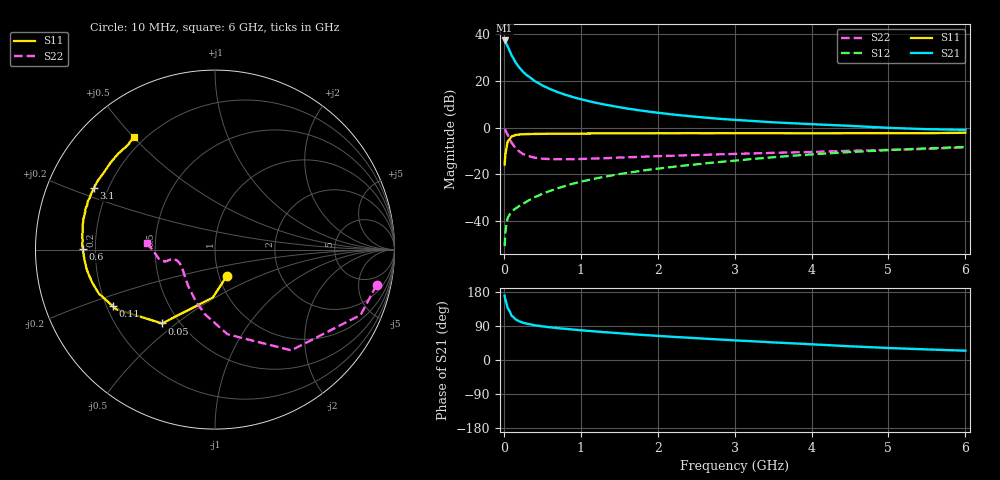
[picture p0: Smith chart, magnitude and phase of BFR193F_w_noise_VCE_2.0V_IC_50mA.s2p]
! Infineon Technologies  Discrete & RF Semiconductors
! BFR193F
! VCE =  2.0 V,  IC =  50 mA
! Common Emitter S-Parameters:  Jan 2017
# GHz  S  MA  R  50
!  f  S11  S21  S12  S22
! GHz  MAG  ANG  MAG  ANG  MAG  ANG  MAG  ANG
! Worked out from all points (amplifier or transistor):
!   77 points, 10 MHz to 6 GHz, reference 50 ohm
!   highest |S21| = 37.2 dB at 10 MHz (marker M1)
!   |S21| within 3 dB of that: start of sweep to 56.59 MHz
!   unconditionally stable (mu >= 1): 727.4 MHz to 2.682 GHz
!   at 130 MHz: K = 0.53, MSG = 32.2 dB, |S12| = -35.2 dB
!   at 2.2 GHz: K = 1.02, MAG = 10.3 dB, |S12| = -16.8 dB
!   at 6 GHz: K = 0.89, MSG = 3.7 dB, |S12| = -8.3 dB
!   lowest NFmin = 1.48 dB at 450 MHz
!   S11 on the Smith chart (normalised r, x): 10 MHz: 1.08, -0.33; 50 MHz: 0.40, -0.45; 110 MHz: 0.22, -0.25; 600 MHz: 0.15, +0.00; 3.1 GHz: 0.15, +0.23; 6 GHz: 0.16, +0.50
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0.01  0.1625 -66.6  72.83 169.7  0.0029 81.9  0.9219 -12.3
0.02  0.267 -92.6  69.3 159.3  0.0057 76.5  0.8889 -24.2
0.05  0.5061 -125.6  54.36 136.5  0.0116 59.5  0.7038 -52.9
0.1  0.6427 -148.9  35.16 116.8  0.0158 51.2  0.4766 -81.6
0.11  0.6508 -151.1  33.09 115.4  0.0163 51.4  0.4516 -84.3
0.15  0.6921 -159.3  25.08 107.6  0.0184 52.2  0.3653 -98.7
0.2  0.7084 -165.0  19.27 102.0  0.0209 53.4  0.3078 -110.2
0.25  0.7178 -169.0  15.59 98.4  0.0234 56.4  0.2706 -119.6
0.3  0.7237 -171.5  13.1 95.8  0.0263 60.5  0.2516 -126.5
0.4  0.7294 -175.6  9.895 91.6  0.0323 63.6  0.227 -137.1
0.5  0.7329 -178.2  7.959 88.8  0.038 66.3  0.2157 -144.2
0.6  0.7367 179.8  6.663 86.3  0.0441 69.1  0.2113 -149.7
0.7  0.7403 177.7  5.722 84.1  0.0502 69.8  0.2098 -153.2
0.8  0.7392 176.3  5.012 82.3  0.0565 71.2  0.21 -156.6
0.9  0.7421 174.6  4.471 80.4  0.0632 72.0  0.2106 -158.9
1.1  0.7448 172.1  3.675 76.8  0.0753 73.1  0.2158 -161.7
1.5  0.7517 167.5  2.725 70.6  0.1007 73.4  0.228 -165.6
2.1  0.7553 161.7  1.985 62.4  0.138 72.8  0.2469 -167.3
3.1  0.7567 153.1  1.426 50.8  0.2027 70.1  0.2754 -166.5
4.1  0.7538 144.2  1.16 40.4  0.2727 65.2  0.3038 -168.7
5.1  0.7584 134.2  0.972 30.9  0.3347 59.0  0.336 -176.7
6  0.7748 125.6  0.894 24.6  0.3834 53.4  0.3794 174.7
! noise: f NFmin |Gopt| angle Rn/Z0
0.45  1.48  0.47  -179  0.07
0.9  1.56  0.48  -178  0.08
1.9  2.14  0.6  -163  0.09
2.4  2.45  0.62  -155  0.15
